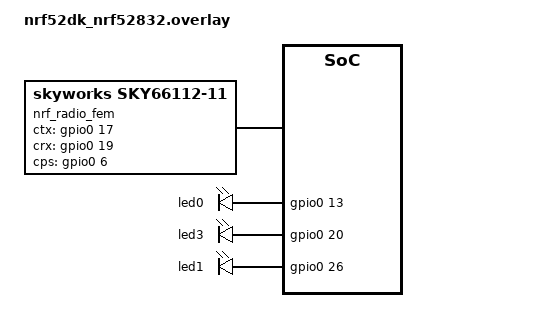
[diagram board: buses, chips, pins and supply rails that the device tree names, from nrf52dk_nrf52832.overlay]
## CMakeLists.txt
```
#
# Copyright (c) 2018 Nordic Semiconductor
#
# SPDX-License-Identifier: LicenseRef-Nordic-5-Clause
#
cmake_minimum_required(VERSION 3.20.0)

find_package(Zephyr REQUIRED HINTS $ENV{ZEPHYR_BASE})
project(NONE)

# NORDIC SDK APP START
target_sources(app PRIVATE
  src/main.c
  src/my_lbs.c
  src/solar.c
  src/pwm_control.c

  
 

)

# NORDIC SDK APP END
zephyr_library_include_directories(.)
```

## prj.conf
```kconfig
#
# Copyright (c) 2018 Nordic Semiconductor
#
# SPDX-License-Identifier: LicenseRef-Nordic-5-Clause
#

# Logging/console/UART fully disabled - UART holds HFCLK and prevents deep sleep
CONFIG_LOG=n
CONFIG_CONSOLE=n
CONFIG_SERIAL=n
CONFIG_UART_CONSOLE=n


# SKY66112-11 FEM via MPSL - controls CTX/CRX/CPS automatically during radio events
CONFIG_MPSL=y
CONFIG_MPSL_FEM=y

# Bluetooth LE
CONFIG_BT=y
CONFIG_BT_PERIPHERAL=y
CONFIG_BT_DEVICE_NAME="XLITE-PEACH"
CONFIG_BT_CTLR_TX_PWR_0=y

# PWM
CONFIG_PWM=y

# ADC
CONFIG_ADC=n
CONFIG_NRFX_SAADC=y

# Stack sizes — increased to accommodate MCUmgr SMP thread
CONFIG_SYSTEM_WORKQUEUE_STACK_SIZE=4096
CONFIG_MAIN_STACK_SIZE=4096

# OTA: MCUboot bootloader support
CONFIG_BOOTLOADER_MCUBOOT=y
CONFIG_MCUBOOT_SIGNATURE_KEY_FILE="/Users/spount/dev/xlite2024Code/peach_light/dev_key.pem"

# OTA: MCUmgr / SMP over BLE
CONFIG_MCUMGR=y
CONFIG_MCUMGR_TRANSPORT_BT=y
CONFIG_MCUMGR_GRP_IMG=y
CONFIG_MCUMGR_GRP_OS=y

# OTA: Flash subsystem required for image writing
CONFIG_FLASH=y
CONFIG_FLASH_MAP=y
CONFIG_STREAM_FLASH=y
CONFIG_IMG_MANAGER=y

# OTA: Larger BLE buffers for SMP throughput (~480 byte payloads)
CONFIG_BT_L2CAP_TX_MTU=498
CONFIG_BT_BUF_ACL_RX_SIZE=502
CONFIG_BT_BUF_ACL_TX_SIZE=502

# OTA: Heap for MCUmgr CBOR encoding
CONFIG_HEAP_MEM_POOL_SIZE=8192

# Ultra low power optimizations
CONFIG_PM_DEVICE=y
CONFIG_PM_DEVICE_RUNTIME=y
CONFIG_BOARD_ENABLE_DCDC=y
# Use the integrated 32.768kHz crystal on BT832X1 - no calibration needed,
# allows HFCLK to shut down between radio events
CONFIG_CLOCK_CONTROL_NRF_K32SRC_XTAL=y
# Disable unused buses
CONFIG_I2C=n
CONFIG_SPI=n
```

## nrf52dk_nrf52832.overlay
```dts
// To get started, press Ctrl+Space (or Option+Esc) to bring up the completion menu and view the available nodes.

// You can also use the buttons in the sidebar to perform actions on nodes.
// Actions currently available include:

// * Enabling / disabling the node
// * Adding the bus to a bus
// * Removing the node
// * Connecting ADC channels

// For more help, browse the DeviceTree documentation at https://docs.zephyrproject.org/latest/guides/dts/index.html
// You can also visit the nRF DeviceTree extension documentation at https://nrfconnect.github.io/vscode-nrf-connect/devicetree/nrfdevicetree.html

&led0 {
    gpios = <&gpio0 13 0>;
};

&pwm0_default {

    group2 {
        psels = <NRF_PSEL(PWM_OUT0, 0, 13)>, <NRF_PSEL(PWM_OUT1, 0, 20)>;
    };
};

&pwm0_sleep {
    group1 {
        psels = <NRF_PSEL(PWM_OUT0, 0, 13)>, <NRF_PSEL(PWM_OUT1, 0, 20)>;

    };
};


&led3 {
    gpios = <&gpio0 20 0>;
};

/ {
    pwmleds {
        pwm_led1: pwm_led_1 {
            pwms = <&pwm0 1 PWM_MSEC(20) PWM_POLARITY_NORMAL>;
        };
    };
};

/ {
    aliases {
        pwm-led1 = &pwm_led1;
        
    };
};




&pwm_led0 {
    pwms = <&pwm0 0 PWM_MSEC(20) PWM_POLARITY_NORMAL>;
};

&pwm_led1 {
    pwms = <&pwm0 1 PWM_MSEC(20) PWM_POLARITY_NORMAL>;
};


&led1 {
    gpios = <&gpio0 26 0>;
};

&i2c0_default {
    group1 {
        psels = <NRF_PSEL(TWIM_SCL, 0, 27)>;
    };
};

&i2c0_sleep {
    group1 {
        psels = <NRF_PSEL(TWIM_SCL, 0, 27)>;
    };
};

/* Disable UART0 - it holds HFCLK and prevents deep sleep */
&uart0 {
    status = "disabled";
};

/* SKY66112-11 FEM - pins from BT832X1 datasheet:
 * P0.17 = CTX (PA enable, active high)
 * P0.19 = CRX (LNA enable, active high)
 * P0.06 = CPS (bypass select, low = bypass/low-power)
 */
/ {
    nrf_radio_fem: sky66112_11 {
        compatible = "skyworks,sky66112-11";
        ctx-gpios = <&gpio0 17 GPIO_ACTIVE_HIGH>;
        crx-gpios = <&gpio0 19 GPIO_ACTIVE_HIGH>;
        cps-gpios = <&gpio0  6 GPIO_ACTIVE_HIGH>;
    };
};
```

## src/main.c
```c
/*
 * Copyright (c) 2023 Nordic Semiconductor ASA
 *
 * SPDX-License-Identifier: LicenseRef-Nordic-5-Clause
 */

#include <zephyr/kernel.h>
#include <zephyr/logging/log.h>
#include <zephyr/bluetooth/bluetooth.h>
#include <zephyr/bluetooth/gap.h>
#include <zephyr/bluetooth/uuid.h>
#include <zephyr/bluetooth/conn.h>
#include <zephyr/drivers/gpio.h>
#include <zephyr/pm/device_runtime.h>
#include "my_lbs.h"
#include <zephyr/device.h>
#include <nrfx_saadc.h>
#include <stdbool.h>
#include "solar.h"
#include "pwm_control.h"

#define CHARGE_NODE DT_ALIAS(led1)
#define LED_WARM_NODE DT_ALIAS(led0)
#define LED_COOL_NODE DT_ALIAS(led3)

#define ADC_REF_VOLTAGE_IN_MILLIVOLTS   600
#define ADC_PRE_SCALING_COMPENSATION    6
#define ADC_RES_10BIT                   1024
#define ADC_RESULT_IN_MILLI_VOLTS(ADC_VALUE) \
        ((((ADC_VALUE) * ADC_REF_VOLTAGE_IN_MILLIVOLTS) / ADC_RES_10BIT) * ADC_PRE_SCALING_COMPENSATION)

static const struct gpio_dt_spec chargePin  = GPIO_DT_SPEC_GET(CHARGE_NODE, gpios);
static const struct gpio_dt_spec ledWarmPin = GPIO_DT_SPEC_GET(LED_WARM_NODE, gpios);
static const struct gpio_dt_spec ledCoolPin = GPIO_DT_SPEC_GET(LED_COOL_NODE, gpios);

static struct bt_le_adv_param *adv_param = BT_LE_ADV_PARAM(
	(BT_LE_ADV_OPT_CONNECTABLE | BT_LE_ADV_OPT_USE_IDENTITY),
	3200, /* Min Advertising Interval 2000ms (3200*0.625ms) */
	3201, /* Max Advertising Interval 2000.625ms (3201*0.625ms) */
	NULL);

LOG_MODULE_REGISTER(xlite, LOG_LEVEL_DBG);

#define DEVICE_NAME     CONFIG_BT_DEVICE_NAME
#define DEVICE_NAME_LEN (sizeof(DEVICE_NAME) - 1)

/* Manufacturer-specific payload: [company_lo, company_hi, warm, cool, batt_lo, batt_hi, solar_lo, solar_hi]
 * Company ID 0xFFFF = not registered (development use only) */
static uint8_t mfr_data[8] = { 0xFF, 0xFF, 0, 0, 0, 0, 0, 0 };

static struct bt_data ad[] = {
	BT_DATA_BYTES(BT_DATA_FLAGS, (BT_LE_AD_GENERAL | BT_LE_AD_NO_BREDR)),
	BT_DATA(BT_DATA_NAME_COMPLETE, DEVICE_NAME, DEVICE_NAME_LEN),
	BT_DATA(BT_DATA_MANUFACTURER_DATA, mfr_data, sizeof(mfr_data)),
};

static const struct bt_data sd[] = {
	BT_DATA_BYTES(BT_DATA_UUID128_ALL, BT_UUID_XLITE_VAL),
};

static void update_adv(uint8_t warm, uint8_t cool, uint32_t batt_mv, int32_t solar_mv)
{
	mfr_data[2] = warm;
	mfr_data[3] = cool;
	mfr_data[4] = (uint8_t)(batt_mv & 0xFF);
	mfr_data[5] = (uint8_t)((batt_mv >> 8) & 0xFF);
	mfr_data[6] = (uint8_t)(solar_mv & 0xFF);
	mfr_data[7] = (uint8_t)((solar_mv >> 8) & 0xFF);
	bt_le_adv_update_data(ad, ARRAY_SIZE(ad), sd, ARRAY_SIZE(sd));
}

static void app_brightness_cb(uint8_t led_brightness)
{
	pwmSetWarmLightDuty((uint32_t)led_brightness);
}

static void app_color_cb(uint8_t led_color)
{
	pwmSetCoolLightDuty((uint32_t)led_color);
}

static struct my_xlite_cb app_callbacks = {
	.brightness_cb = app_brightness_cb,
	.color_cb      = app_color_cb,
};

/* Request fast connection: 15ms interval, no latency, 4s timeout */
static const struct bt_le_conn_param fast_conn_params = {
	.interval_min = 12,  /* 12 * 1.25ms = 15ms */
	.interval_max = 12,
	.latency      = 0,
	.timeout      = 400, /* 400 * 10ms = 4s */
};

static volatile bool ble_connected = false;

static void on_connected(struct bt_conn *conn, uint8_t err)
{
	if (err) {
		return;
	}
	ble_connected = true;
	bt_conn_le_param_update(conn, &fast_conn_params);
}

static void on_disconnected(struct bt_conn *conn, uint8_t reason)
{
	ble_connected = false;
}

struct bt_conn_cb connection_callbacks = {
	.connected    = on_connected,
	.disconnected = on_disconnected,
};

int main(void)
{
	int err;

	/* Drive LED enable lines LOW immediately - floating inputs cause
	 * N-channel FETs to turn on, pulling current through R8/R9 pull-ups */
	gpio_pin_configure_dt(&ledWarmPin, GPIO_OUTPUT_INACTIVE);
	gpio_pin_configure_dt(&ledCoolPin, GPIO_OUTPUT_INACTIVE);
	gpio_pin_configure_dt(&chargePin,  GPIO_OUTPUT_INACTIVE);

	init_pwm();

	err = bt_enable(NULL);
	if (err) {
		return err;
	}
	bt_conn_cb_register(&connection_callbacks);

	err = my_xlite_init(&app_callbacks);
	if (err) {
		return err;
	}

	err = bt_le_adv_start(adv_param, ad, ARRAY_SIZE(ad), sd, ARRAY_SIZE(sd));
	if (err) {
		return err;
	}

	/* Suspend PWM so HFCLK can be released during sleep */
	turnLightOff();

	for (;;) {
		/* Disable charge FET and wait for voltage to settle */
		gpio_pin_set_dt(&chargePin, 0);
		k_sleep(K_MSEC(100));

		int16_t solarValue = getSolarVolts();
		if (solarValue < 1) {
			solarValue = 2;
		}
		int32_t solar_lvl_in_milli_volts = ADC_RESULT_IN_MILLI_VOLTS(solarValue);
		solar_lvl_in_milli_volts = (int32_t)(solar_lvl_in_milli_volts * 2.43f);

		uint32_t batteryValue = getBatteryVolts();

		if (solar_lvl_in_milli_volts <= getSolarThreshold()) {
			pwmSetCoolLightDuty(getCoolLightBrightness());
			pwmSetWarmLightDuty(getWarmLightBrightness());
		} else {
			suspendLight();
			if (solar_lvl_in_milli_volts > batteryValue && batteryValue < 3320) {
				gpio_pin_set_dt(&chargePin, 1);
			}
		}

		/* Store solar for BLE characteristic reads and update advertisement */
		setSolarValue(solar_lvl_in_milli_volts);
		update_adv((uint8_t)getWarmLightBrightness(),
			   (uint8_t)getCoolLightBrightness(),
			   batteryValue,
			   solar_lvl_in_milli_volts);

		/* 1s loop when phone is connected for live readings, 10s otherwise */
		k_sleep(ble_connected ? K_SECONDS(1) : K_SECONDS(10));
	}
}
```

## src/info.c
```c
#include "app_timer.h"
#include "nrf_log.h"
#include "nrf_log_ctrl.h"
#include "nrfx_saadc.h"

#define INPUTS 1
#define TIMER  1000 // ms
#define AIN_BATTERY 0 

APP_TIMER_DEF(saadc_timer);

static nrf_saadc_value_t buffer[2][INPUTS];
static uint8_t battery_level = 0xFF;

static inline uint16_t adc_to_mv(nrf_saadc_value_t adc_result) {
    // http://infocenter.nordicsemi.com/topic/com.nordic.infocenter.nrf52840.ps/saadc.html?cp=2_0_0_5_22_2#saadc_digital_output
    // Vresult[mV] = (adc_result * Vref[mV]) / (2^resolution * gain) = (adc_result * 600) / (2^10 * 1/6)
    return (adc_result * 3600) >> 10;
}

uint8_t get_battery_level() {
    return battery_level;
}

static void saadc_timeout_handler(void *p_context) {
    UNUSED_PARAMETER(p_context);
    APP_ERROR_CHECK(nrfx_saadc_sample());
}

void saadc_event_handler(nrfx_saadc_evt_t const *p_event) {
    if (p_event->type != NRFX_SAADC_EVT_DONE)
        return;
    nrf_saadc_value_t *adc_result = p_event->data.done.p_buffer;
    battery_level = battery_level_in_percent(adc_to_mv(adc_result[AIN_BATTERY]));
    APP_ERROR_CHECK(nrfx_saadc_buffer_convert(adc_result, INPUTS));
}

void saadc_init(void) {
    //  SAADC config & calibrate
    nrfx_saadc_config_t saadc_config = NRFX_SAADC_DEFAULT_CONFIG;
    APP_ERROR_CHECK(nrfx_saadc_init(&saadc_config, saadc_event_handler));
    APP_ERROR_CHECK(nrfx_saadc_calibrate_offset());
    while (nrfx_saadc_is_busy())
        sd_app_evt_wait();

    // Channels config
    nrf_saadc_channel_config_t battery_config = NRFX_SAADC_DEFAULT_CHANNEL_CONFIG_SE(NRF_SAADC_INPUT_VDD);
    APP_ERROR_CHECK(nrfx_saadc_channel_init(AIN_BATTERY, &battery_config));

    // double buffering
    APP_ERROR_CHECK(nrfx_saadc_buffer_convert(buffer[0], INPUTS));
    APP_ERROR_CHECK(nrfx_saadc_buffer_convert(buffer[1], INPUTS));

    // start SAADC timer
    APP_ERROR_CHECK(app_timer_create(&saadc_timer, APP_TIMER_MODE_REPEATED, saadc_timeout_handler));
    APP_ERROR_CHECK(app_timer_start(saadc_timer, APP_TIMER_TICKS(TIMER), NULL));
```

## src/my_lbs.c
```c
/*
 * Copyright (c) 2018 Nordic Semiconductor ASA
 *
 * SPDX-License-Identifier: LicenseRef-Nordic-5-Clause
 */

/** @file
 *  @brief LED Button Service (LBS) sample
 */

#include <zephyr/types.h>
#include <stddef.h>
#include <string.h>
#include <errno.h>
#include <zephyr/sys/printk.h>
#include <zephyr/sys/byteorder.h>
#include <zephyr/kernel.h>
#include <app_version.h>

#include <zephyr/bluetooth/bluetooth.h>
#include <zephyr/bluetooth/hci.h>
#include <zephyr/bluetooth/conn.h>
#include <zephyr/bluetooth/uuid.h>
#include <zephyr/bluetooth/gatt.h>

#include "my_lbs.h"
#include "nrfx_pwm.h"
#include "pwm_control.h"
#include "solar.h"


#include <zephyr/logging/log.h>


//LOG_MODULE_DECLARE(Lesson4_Exercise1);
LOG_MODULE_REGISTER(LBS, LOG_LEVEL_DBG);

static struct my_xlite_cb xlite_cb;
static uint8_t brightness = 0;
static uint8_t color = 0;
static uint16_t vbatt = 0;
static uint8_t solar_mode = 1; /* 0=Early/1600mV, 1=Normal/1700mV, 2=Late/1800mV */
static int32_t solar_mv = 0;

int32_t getSolarThreshold(void)
{
	switch (solar_mode) {
	case 0:  return 1600;
	case 2:  return 1800;
	default: return 1700;
	}
}

void setSolarValue(int32_t mv)
{
	solar_mv = mv;
}

static ssize_t read_xlite_solar(struct bt_conn *conn, const struct bt_gatt_attr *attr, void *buf,
			uint16_t len, uint16_t offset)
{
	return bt_gatt_attr_read(conn, attr, buf, len, offset, &solar_mv, sizeof(solar_mv));
}


/* STEP 6 - Implement the write callback function of the LED characteristic */

static ssize_t write_xlite_brightness(struct bt_conn *conn,
			 const struct bt_gatt_attr *attr,
			 const void *buf,
			 uint16_t len, uint16_t offset, uint8_t flags)
{
	LOG_DBG("Attribute write, handle: %u, conn: %p", attr->handle,
		(void *)conn);

	if (len != 1U) {
		LOG_DBG("Write led: Incorrect data length");
		return BT_GATT_ERR(BT_ATT_ERR_INVALID_ATTRIBUTE_LEN);
	}

	if (offset != 0) {
		LOG_DBG("Write led: Incorrect data offset");
		return BT_GATT_ERR(BT_ATT_ERR_INVALID_OFFSET);
	}

	if (xlite_cb.brightness_cb) {
		//Read the received value 
		uint8_t val = *((uint8_t *)buf);
		//TODO: set the Brightness
		xlite_cb.brightness_cb(val);
	}

	return len;
}

static ssize_t read_xlite_brightness(struct bt_conn *conn, const struct bt_gatt_attr *attr, void *buf,
			   uint16_t len, uint16_t offset)
{
		brightness = getWarmLightBrightness();
		return bt_gatt_attr_read(conn, attr, buf, len, offset, &brightness, sizeof(brightness));
}

static ssize_t write_xlite_color(struct bt_conn *conn,
			 const struct bt_gatt_attr *attr,
			 const void *buf,
			 uint16_t len, uint16_t offset, uint8_t flags)
{
	LOG_DBG("Attribute write, handle: %u, conn: %p", attr->handle,
		(void *)conn);

	if (len != 1U) {
		LOG_DBG("Write led: Incorrect data length");
		return BT_GATT_ERR(BT_ATT_ERR_INVALID_ATTRIBUTE_LEN);
	}

	if (offset != 0) {
		LOG_DBG("Write led: Incorrect data offset");
		return BT_GATT_ERR(BT_ATT_ERR_INVALID_OFFSET);
	}

	if (xlite_cb.color_cb) {
		//Read the received value 
		uint8_t val = *((uint8_t *)buf);
		//TODO: set the color 
		xlite_cb.color_cb(val);
	}

	return len;
}

static ssize_t read_xlite_color(struct bt_conn *conn, const struct bt_gatt_attr *attr, void *buf,
			   uint16_t len, uint16_t offset)
{
	
		 color = getCoolLightBrightness();
		
		return bt_gatt_attr_read(conn, attr, buf, len, offset, &color, sizeof(color));
	

	//return 0;
}


static ssize_t read_xlite_version(struct bt_conn *conn, const struct bt_gatt_attr *attr, void *buf,
				uint16_t len, uint16_t offset)
{
	/* APP_VERSION_STRING is generated from the VERSION file, e.g. "1.0.0" */
	const char *ver = APP_VERSION_STRING;
	return bt_gatt_attr_read(conn, attr, buf, len, offset, ver, strlen(ver));
}

static ssize_t read_xlite_vbatt(struct bt_conn *conn, const struct bt_gatt_attr *attr, void *buf,
			   uint16_t len, uint16_t offset)
{
		vbatt = rBattValue();
		vbatt = vbatt >> 1;
		printf("vbatt sending via ble = %u \n", vbatt);
		//vbatt = 0; 
		return bt_gatt_attr_read(conn, attr, buf, len, offset, &vbatt, sizeof(vbatt));
	

	//return 0;
}

/* STEP 5 - Implement the read callback function of the Button characteristic */



static ssize_t write_xlite_mode(struct bt_conn *conn,
			const struct bt_gatt_attr *attr,
			const void *buf,
			uint16_t len, uint16_t offset, uint8_t flags)
{
	if (len != 1U || offset != 0) {
		return BT_GATT_ERR(BT_ATT_ERR_INVALID_ATTRIBUTE_LEN);
	}
	uint8_t val = *((uint8_t *)buf);
	if (val <= 2) {
		solar_mode = val;
	}
	return len;
}

static ssize_t read_xlite_mode(struct bt_conn *conn, const struct bt_gatt_attr *attr, void *buf,
			uint16_t len, uint16_t offset)
{
	return bt_gatt_attr_read(conn, attr, buf, len, offset, &solar_mode, sizeof(solar_mode));
}

/* LED Button Service Declaration */
/* STEP 2 - Create and add the MY LBS service to the Bluetooth LE stack */
BT_GATT_SERVICE_DEFINE(xlite_service,
BT_GATT_PRIMARY_SERVICE(BT_UUID_XLITE),
	BT_GATT_CHARACTERISTIC(BT_UUID_XLITE_COLOR,
			       BT_GATT_CHRC_WRITE | BT_GATT_CHRC_WRITE_WITHOUT_RESP | BT_GATT_CHRC_READ,
			       BT_GATT_PERM_WRITE | BT_GATT_PERM_READ,
				   read_xlite_color, write_xlite_color, &color),
	BT_GATT_CHARACTERISTIC(BT_UUID_XLITE_BRIGHTNESS,
			       BT_GATT_CHRC_WRITE | BT_GATT_CHRC_WRITE_WITHOUT_RESP | BT_GATT_CHRC_READ,
			       BT_GATT_PERM_WRITE | BT_GATT_PERM_READ,
			       read_xlite_brightness, write_xlite_brightness, &brightness),
	BT_GATT_CHARACTERISTIC(BT_UUID_XLITE_VBATT,
			       BT_GATT_CHRC_READ,
			       BT_GATT_PERM_READ, read_xlite_vbatt, NULL,
			       &vbatt),
	BT_GATT_CHARACTERISTIC(BT_UUID_XLITE_MODE,
			       BT_GATT_CHRC_WRITE | BT_GATT_CHRC_WRITE_WITHOUT_RESP | BT_GATT_CHRC_READ,
			       BT_GATT_PERM_WRITE | BT_GATT_PERM_READ,
			       read_xlite_mode, write_xlite_mode, &solar_mode),
	BT_GATT_CHARACTERISTIC(BT_UUID_XLITE_SOLAR,
			       BT_GATT_CHRC_READ,
			       BT_GATT_PERM_READ, read_xlite_solar, NULL, &solar_mv),
	BT_GATT_CHARACTERISTIC(BT_UUID_XLITE_VERSION,
			       BT_GATT_CHRC_READ,
			       BT_GATT_PERM_READ, read_xlite_version, NULL, NULL),
);
/* A function to register application callbacks for the LED and Button characteristics  */
int my_xlite_init(struct my_xlite_cb *callbacks)
{
	if (callbacks) {
		xlite_cb.brightness_cb = callbacks->brightness_cb;
		xlite_cb.color_cb = callbacks->color_cb;
	}

	return 0;
}
```

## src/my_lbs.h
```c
/*
 * Copyright (c) 2018 Nordic Semiconductor ASA
 *
 * SPDX-License-Identifier: LicenseRef-Nordic-5-Clause
 */

#ifndef BT_LBS_H_
#define BT_LBS_H_

/**@file
 * @defgroup bt_lbs LED Button Service API
 * @{
 * @brief API for the LED Button Service (LBS).
 */

#ifdef __cplusplus
extern "C" {
#endif

#include <zephyr/types.h>

/* STEP 1 - Define the 128 bit UUIDs for the GATT service and its characteristics in */

/** @brief XLITE Service UUID. */
#define BT_UUID_XLITE_VAL \
     BT_UUID_128_ENCODE(0xf000BABE, 0x5c80, 0x11ee, 0x8c99, 0x0242ac120002)
/** @brief LED COLOR Characteristic UUID. */
#define BT_UUID_XLITE_COLOR_VAL \
	BT_UUID_128_ENCODE(0xf0001113, 0x5c80, 0x11ee, 0x8c99, 0x0242ac120002)

/** @brief LED BRIGHTNESS Characteristic UUID. */
#define BT_UUID_XLITE_BRIGHTNESS_VAL \
	BT_UUID_128_ENCODE(0xf0001112, 0x5c80, 0x11ee, 0x8c99, 0x0242ac120002)

/** @brief LED BRIGHTNESS Characteristic UUID. */
#define BT_UUID_XLITE_SOLAR_VAL \
	BT_UUID_128_ENCODE(0xf0001110, 0x5c80, 0x11ee, 0x8c99, 0x0242ac120002)

#define BT_UUID_XLITE_VBATT_VAL \
	BT_UUID_128_ENCODE(0xf0001119, 0x5c80, 0x11ee, 0x8c99, 0x0242ac120002)

/** @brief Solar mode characteristic UUID (0=Early/1600mV, 1=Normal/1700mV, 2=Late/1800mV) */
#define BT_UUID_XLITE_MODE_VAL \
	BT_UUID_128_ENCODE(0xf000111A, 0x5c80, 0x11ee, 0x8c99, 0x0242ac120002)

/** @brief Firmware version characteristic UUID — returns null-terminated semver string e.g. "1.0.0" */
#define BT_UUID_XLITE_VERSION_VAL \
	BT_UUID_128_ENCODE(0xf000111B, 0x5c80, 0x11ee, 0x8c99, 0x0242ac120002)


#define BT_UUID_XLITE		       BT_UUID_DECLARE_128(BT_UUID_XLITE_VAL)
#define BT_UUID_XLITE_COLOR		   BT_UUID_DECLARE_128(BT_UUID_XLITE_COLOR_VAL)
#define BT_UUID_XLITE_BRIGHTNESS   BT_UUID_DECLARE_128(BT_UUID_XLITE_BRIGHTNESS_VAL)
#define BT_UUID_XLITE_SOLAR		   BT_UUID_DECLARE_128(BT_UUID_XLITE_SOLAR_VAL)
#define BT_UUID_XLITE_VBATT		   BT_UUID_DECLARE_128(BT_UUID_XLITE_VBATT_VAL)
#define BT_UUID_XLITE_MODE		   BT_UUID_DECLARE_128(BT_UUID_XLITE_MODE_VAL)
#define BT_UUID_XLITE_VERSION	   BT_UUID_DECLARE_128(BT_UUID_XLITE_VERSION_VAL)


/** @brief Callback type for when an LED state change is received. */
typedef void (*brightness_cb_t)(uint8_t brightness);

/** @brief Callback type for when the color is set. */
typedef void (*color_cb_t)(uint8_t color);

/** @brief Callback struct used by the LBS Service. */
struct my_xlite_cb {
	/** LED state change callback. */
	brightness_cb_t brightness_cb;
	/** Button read callback. */
	color_cb_t color_cb;
};

/** @brief Initialize the LBS Service.
 *
 * This function registers application callback functions with the My LBS
 * Service
 *
 * @param[in] callbacks Struct containing pointers to callback functions
 *			used by the service. This pointer can be NULL
 *			if no callback functions are defined.
 *
 *
 * @retval 0 If the operation was successful.
 *           Otherwise, a (negative) error code is returned.
 */
int my_xlite_init(struct my_xlite_cb *callbacks);

/** @brief Get the solar threshold in mV based on the current mode.
 *  0 = Early (1600mV), 1 = Normal (1700mV), 2 = Late (1800mV)
 */
int32_t getSolarThreshold(void);

/** @brief Store the latest solar panel voltage (mV) for BLE reads. */
void setSolarValue(int32_t mv);

#ifdef __cplusplus
}
#endif

/**
 * @}
 */

#endif /* BT_LBS_H_ */
```

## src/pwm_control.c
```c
#include "pwm_control.h"
#include <zephyr/drivers/pwm.h>
#include <zephyr/pm/device.h>
#include <zephyr/pm/device_runtime.h>


static const struct pwm_dt_spec pwm_led0 = PWM_DT_SPEC_GET(DT_ALIAS(pwm_led0));
static const struct pwm_dt_spec pwm_led1 = PWM_DT_SPEC_GET(DT_ALIAS(pwm_led1));

#define MIN_PERIOD PWM_SEC(1U) / 128U
#define MAX_PERIOD PWM_SEC(1U)


//uint32_t pwmSetWarmLightDuty(uint32_t pwm);
//uint32_t pwmSetCoolLightDuty(uint32_t pwm);
//uint32_t getWarmLightBrightness(void);
//uint32_t getCoolLightBrightness(void);

//Local static variables: 
static uint32_t gCurrentWarmLightBrightness = 0;
static uint32_t gCurrentCoolLightBrightness = 75;



uint32_t max_period;
uint32_t period;
uint8_t dir = 0U;

	
// TODO: initializtion of pwm function needed 	
uint8_t init_pwm() {
	if (!device_is_ready(pwm_led0.dev) || !device_is_ready(pwm_led1.dev)) {
		return 0;
	}
	pm_device_runtime_enable(pwm_led0.dev);
	pm_device_runtime_enable(pwm_led1.dev);
	return 0;
}


uint32_t pwmSetWarmLightDuty(uint32_t pwm)
{
	pm_device_runtime_get(pwm_led0.dev);
	int ret = pwm_set_dt(&pwm_led0, MIN_PERIOD, (pwm * 40000));
	if (ret) {
		pm_device_runtime_put(pwm_led0.dev);
		return 0;
	}
	gCurrentWarmLightBrightness = pwm;
	return 0;
}

uint32_t pwmSetCoolLightDuty(uint32_t pwm)
{
	pm_device_runtime_get(pwm_led1.dev);
	int ret = pwm_set_dt(&pwm_led1, MIN_PERIOD, (pwm * 40000));
	if (ret) {
		pm_device_runtime_put(pwm_led1.dev);
		return 0;
	}
	gCurrentCoolLightBrightness = pwm;
	return 0;
}

uint32_t getWarmLightBrightness(void) {
	return gCurrentWarmLightBrightness;
}

uint32_t getCoolLightBrightness(void) {
	return gCurrentCoolLightBrightness;
}

/* Suspend PWM output without clearing stored brightness.
 * Used by the solar loop so the light restores when solar drops again. */
void suspendLight()
{
	pwm_set_dt(&pwm_led0, MIN_PERIOD, 0);
	pm_device_runtime_put(pwm_led0.dev);
	pwm_set_dt(&pwm_led1, MIN_PERIOD, 0);
	pm_device_runtime_put(pwm_led1.dev);
}

/* Full off — clears stored brightness (e.g. on first boot). */
void turnLightOff()
{
	suspendLight();
	gCurrentWarmLightBrightness = 0;
	gCurrentCoolLightBrightness = 0;
}
```

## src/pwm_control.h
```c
#ifndef PWM_CONTROL_H__
#define PWM_CONTROL_H__
#include <stdint.h>

uint8_t init_pwm();
uint32_t pwmSetWarmLightDuty(uint32_t pwm);
uint32_t pwmSetCoolLightDuty(uint32_t pwm);
uint32_t getWarmLightBrightness(void);
uint32_t getCoolLightBrightness(void);
void suspendLight();
void turnLightOff();


#endif
```

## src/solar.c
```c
#include "solar.h"
#include <nrfx_saadc.h>
#include <stdio.h> 
#include <stdint.h> 
#include "nrfx_errors.h"

//#include <nrfx_log.h>
#define ADC_REF_VOLTAGE_IN_MILLIVOLTS   600                                     /**< Reference voltage (in milli volts) used by ADC while doing conversion. */
#define ADC_PRE_SCALING_COMPENSATION    6                                       /**< The ADC is configured to use VDD with 1/3 prescaling as input. And hence the result of conversion is to be multiplied by 3 to get the actual value of the battery voltage.*/
#define DIODE_FWD_VOLT_DROP_MILLIVOLTS  270                                     /**< Typical forward voltage drop of the diode . */
#define ADC_RES_10BIT                   1024                                    /**< Maximum digital value for 10-bit ADC conversion. */
#define ADC_RESULT_IN_MILLI_VOLTS(ADC_VALUE) \
        ((((ADC_VALUE) *ADC_REF_VOLTAGE_IN_MILLIVOLTS) / ADC_RES_10BIT) * ADC_PRE_SCALING_COMPENSATION)

#define NRFX_SAADC_XLITE_CHANNEL_SE(_pin_p, _index)                  \
{                                                                      \
    .channel_config =                                                  \
    {                                                                  \
        NRFX_COND_CODE_1(NRF_SAADC_HAS_CH_CONFIG_RES,                  \
                         (.resistor_p = NRF_SAADC_RESISTOR_DISABLED,   \
                          .resistor_n = NRF_SAADC_RESISTOR_DISABLED,), \
                         ())                                           \
        .gain       = SAADC_CH_CONFIG_GAIN_Gain1_6,                                 \
        .reference  = NRF_SAADC_REFERENCE_INTERNAL,                    \
        .acq_time   = NRFX_SAADC_DEFAULT_ACQTIME,                      \
        NRFX_COND_CODE_1(NRF_SAADC_HAS_CONV_TIME,                      \
                         (.conv_time = NRFX_SAADC_DEFAULT_CONV_TIME,), \
                         ())                                           \
        .mode       = NRF_SAADC_MODE_SINGLE_ENDED,                     \
        .burst      = NRF_SAADC_BURST_DISABLED,                        \
    },                                                                 \
    .pin_p          = (nrf_saadc_input_t)_pin_p,                       \
    .pin_n          = NRF_SAADC_INPUT_DISABLED,                        \
    .channel_index  = _index,                                          \
}

nrfx_err_t err_code;
 
int16_t solar;
uint16_t battery;
static uint32_t gCurrentBattValue = 0;




static void handle_error(nrfx_err_t error_code)
{
    if (error_code!= NRFX_SUCCESS)
    {
        printf("ERROR");
        while(1){};
    }
}


uint8_t initSolarAdc() 
{

printf("entered solar ADC setup\n");


  nrfx_saadc_channel_t solarChannel = NRFX_SAADC_XLITE_CHANNEL_SE(NRF_SAADC_INPUT_AIN0, 0);
  //nrfx_saadc_channel_t batteryChannel = NRFX_SAADC_DEFAULT_CHANNEL_SE(NRF_SAADC_INPUT_VDD, 1);


 
    err_code = nrfx_saadc_init(NRFX_SAADC_DEFAULT_CONFIG_IRQ_PRIORITY);
    handle_error(err_code);
 
    err_code = nrfx_saadc_channels_config(&solarChannel, 1);
    handle_error(err_code);

 
    err_code = nrfx_saadc_simple_mode_set((1<<0),
                                          NRF_SAADC_RESOLUTION_10BIT,
                                          NRF_SAADC_OVERSAMPLE_DISABLED,
                                          NULL);
    handle_error(err_code);
 
    err_code = nrfx_saadc_buffer_set(&solar, 1);
    handle_error(err_code);  
 
    return 0;
}

uint8_t initBatteryAdc() 
{

printf("entered battery ADC setup\n");


  //nrfx_saadc_channel_t solarChannel = NRFX_SAADC_DEFAULT_CHANNEL_SE(NRF_SAADC_INPUT_AIN0, 0);
  nrfx_saadc_channel_t batteryChannel = NRFX_SAADC_XLITE_CHANNEL_SE(NRF_SAADC_INPUT_VDD, 0);


 
    err_code = nrfx_saadc_init(NRFX_SAADC_DEFAULT_CONFIG_IRQ_PRIORITY);
    handle_error(err_code);
 
    err_code = nrfx_saadc_channels_config(&batteryChannel, 1);
    handle_error(err_code);

 
    err_code = nrfx_saadc_simple_mode_set((1<<0),
                                          NRF_SAADC_RESOLUTION_10BIT,
                                          NRF_SAADC_OVERSAMPLE_DISABLED,
                                          NULL);
    handle_error(err_code);
 
    err_code = nrfx_saadc_buffer_set(&battery, 1);
    handle_error(err_code);  
 
    return 0;
}

uint32_t getSolarVolts()
{
    initSolarAdc();
    err_code = nrfx_saadc_mode_trigger();
    handle_error(err_code);
    int16_t result = solar;
    nrfx_saadc_uninit();
    return result;
}

uint32_t getBatteryVolts()
{
    initBatteryAdc();
    err_code = nrfx_saadc_mode_trigger();
    handle_error(err_code);
    uint32_t battery_lvl_in_milli_volts = ADC_RESULT_IN_MILLI_VOLTS(battery);
    gCurrentBattValue = battery_lvl_in_milli_volts;
    nrfx_saadc_uninit();
    return battery_lvl_in_milli_volts;
}

uint32_t rBattValue()
{
    return gCurrentBattValue;
}
```

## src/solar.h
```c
#ifndef SOLAR_H__
#define SOLAR_H__
#include <stdint.h>


uint8_t initSolarAdc();
uint8_t initBatteryAdc();
uint32_t getSolarVolts();
uint32_t getBatteryVolts();
uint32_t rBattValue();

#endif 
```
